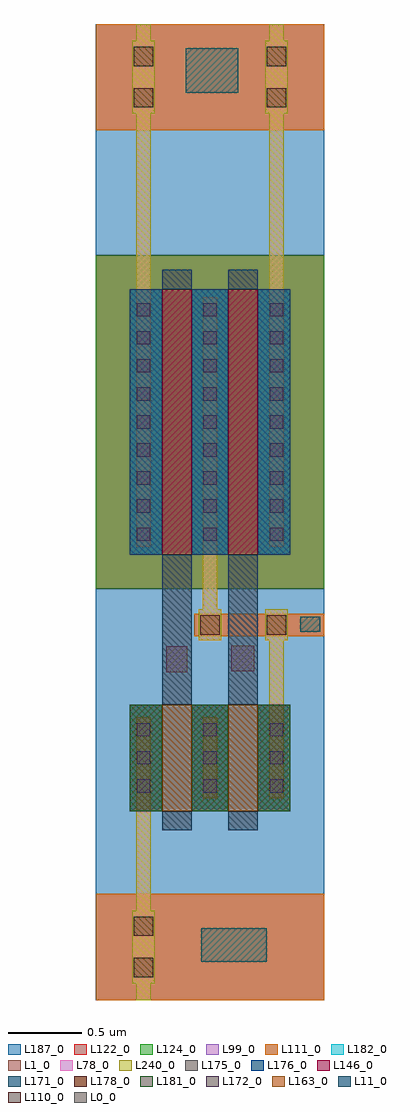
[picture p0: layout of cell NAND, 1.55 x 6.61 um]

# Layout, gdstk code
import gdstk
lib = gdstk.Library(unit=1e-6, precision=1e-09)
def R(c, l, rs):  # rectangles x0, y0, x1, y1
    for r in rs: c.add(gdstk.rectangle(r[:2], r[2:], *l))
def A(c, l, x, y, w, h, nx, ny, dx, dy):  # array of equal rectangles
    R(c, l, [(x+i*dx, y+j*dy, x+i*dx+w, y+j*dy+h) for i in range(nx) for j in range(ny)])
def P(c, l, *ps):  # polygons
    for p in ps: c.add(gdstk.Polygon(p, *l))
L0_0 = (0, 0)
L1_0 = (1, 0)
L11_0 = (11, 0)
L78_0 = (78, 0)
L99_0 = (99, 0)
L110_0 = (110, 0)
L111_0 = (111, 0)
L122_0 = (122, 0)
L124_0 = (124, 0)
L146_0 = (146, 0)
L163_0 = (163, 0)
L171_0 = (171, 0)
L172_0 = (172, 0)
L175_0 = (175, 0)
L176_0 = (176, 0)
L178_0 = (178, 0)
L181_0 = (181, 0)
L182_0 = (182, 0)
L187_0 = (187, 0)
L240_0 = (240, 0)

nand = lib.new_cell('NAND')
R(nand, L0_0, [(5.415,2.755,5.555,2.93), (5.855,2.76,6.01,2.935)])
R(nand, L1_0, [(5.385,1.685,5.585,5.48), (5.835,1.685,6.035,5.48)])
R(nand, L11_0, [(5.65,0.795,6.095,1.02), (6.32,3.03,6.455,3.13), (5.545,6.68,5.9,6.98)])
R(nand, L78_0, [(5.66,1.9,5.76,2.45)])
P(nand, L78_0, [(5.31,2.45),(5.31,1.14),(5.335,1.14),(5.335,0.65),(5.31,0.65),(5.31,0.535),(5.21,0.535),(5.21,0.65),(5.185,0.65),(5.185,1.14),(5.21,1.14),(5.21,2.45)],
  [(5.31,7.145),(5.31,7.03),(5.335,7.03),(5.335,6.54),(5.31,6.54),(5.31,3.605),(5.21,3.605),(5.21,6.54),(5.185,6.54),(5.185,7.03),(5.21,7.03),(5.21,7.145)],
  [(5.76,5.295),(5.76,3.18),(5.785,3.18),(5.785,2.97),(5.635,2.97),(5.635,3.18),(5.66,3.18),(5.66,5.295)],
  [(6.235,3.18),(6.235,2.97),(6.21,2.97),(6.21,1.9),(6.11,1.9),(6.11,2.97),(6.085,2.97),(6.085,3.18)],
  [(6.21,7.145),(6.21,7.03),(6.235,7.03),(6.235,6.54),(6.21,6.54),(6.21,3.605),(6.11,3.605),(6.11,6.54),(6.085,6.54),(6.085,7.03),(6.11,7.03),(6.11,7.145)])
R(nand, L99_0, [(4.94,0.535,6.485,1.255), (5.605,3,6.485,3.15), (4.94,6.425,6.485,7.145)])
R(nand, L110_0, [(5.195,0.69,5.325,0.82), (5.195,0.97,5.325,1.1), (5.645,3.01,5.775,3.14), (6.095,3.01,6.225,3.14), (5.195,6.58,5.325,6.71), (6.095,6.58,6.225,6.71), (5.195,6.86,5.325,6.99), (6.095,6.86,6.225,6.99)])
R(nand, L111_0, [(4.94,0.535,6.485,1.255), (5.605,3,6.485,3.15), (4.94,6.425,6.485,7.145)])
R(nand, L122_0, [(4.935,3.32,6.485,5.58)])
R(nand, L124_0, [(4.935,3.32,6.485,5.58)])
R(nand, L146_0, [(5.385,3.55,5.585,5.35), (5.835,3.55,6.035,5.35)])
R(nand, L163_0, [(5.385,1.815,5.585,2.535), (5.835,1.815,6.035,2.535)])
R(nand, L171_0, [(5.385,1.685,5.585,1.815), (5.835,1.685,6.035,1.815), (5.385,2.535,5.585,3.55), (5.835,2.535,6.035,3.55), (5.385,5.35,5.585,5.48), (5.835,5.35,6.035,5.48)])
A(nand, L172_0, 5.215, 1.94, 0.09, 0.09, 3, 3, 0.45, 0.19)
A(nand, L172_0, 5.215, 3.645, 0.09, 0.09, 3, 9, 0.45, 0.19)
R(nand, L175_0, [(5.165,3.55,5.385,5.35), (5.585,3.55,5.835,5.35), (6.035,3.55,6.255,5.35)])
R(nand, L176_0, [(5.165,3.55,5.385,5.35), (5.585,3.55,5.835,5.35), (6.035,3.55,6.255,5.35)])
R(nand, L178_0, [(5.165,1.815,5.385,2.535), (5.585,1.815,5.835,2.535), (6.035,1.815,6.255,2.535)])
R(nand, L181_0, [(5.165,1.815,5.385,2.535), (5.585,1.815,5.835,2.535), (6.035,1.815,6.255,2.535)])
R(nand, L182_0, [(5.165,1.815,5.385,2.535), (5.585,1.815,5.835,2.535), (6.035,1.815,6.255,2.535), (5.165,3.55,5.385,5.35), (5.585,3.55,5.835,5.35), (6.035,3.55,6.255,5.35)])
R(nand, L187_0, [(4.935,0.535,6.485,3.32), (4.935,5.58,6.485,7.145)])
R(nand, L240_0, [(5.66,1.9,5.76,2.45)])
P(nand, L240_0, [(5.31,2.45),(5.31,1.14),(5.335,1.14),(5.335,0.65),(5.31,0.65),(5.31,0.535),(5.21,0.535),(5.21,0.65),(5.185,0.65),(5.185,1.14),(5.21,1.14),(5.21,2.45)],
  [(5.31,7.145),(5.31,7.03),(5.335,7.03),(5.335,6.54),(5.31,6.54),(5.31,3.605),(5.21,3.605),(5.21,6.54),(5.185,6.54),(5.185,7.03),(5.21,7.03),(5.21,7.145)],
  [(5.76,5.295),(5.76,3.18),(5.785,3.18),(5.785,2.97),(5.635,2.97),(5.635,3.18),(5.66,3.18),(5.66,5.295)],
  [(6.235,3.18),(6.235,2.97),(6.21,2.97),(6.21,1.9),(6.11,1.9),(6.11,2.97),(6.085,2.97),(6.085,3.18)],
  [(6.21,7.145),(6.21,7.03),(6.235,7.03),(6.235,6.54),(6.21,6.54),(6.21,3.605),(6.11,3.605),(6.11,6.54),(6.085,6.54),(6.085,7.03),(6.11,7.03),(6.11,7.145)])

lib.write_gds('NAND.gds')
